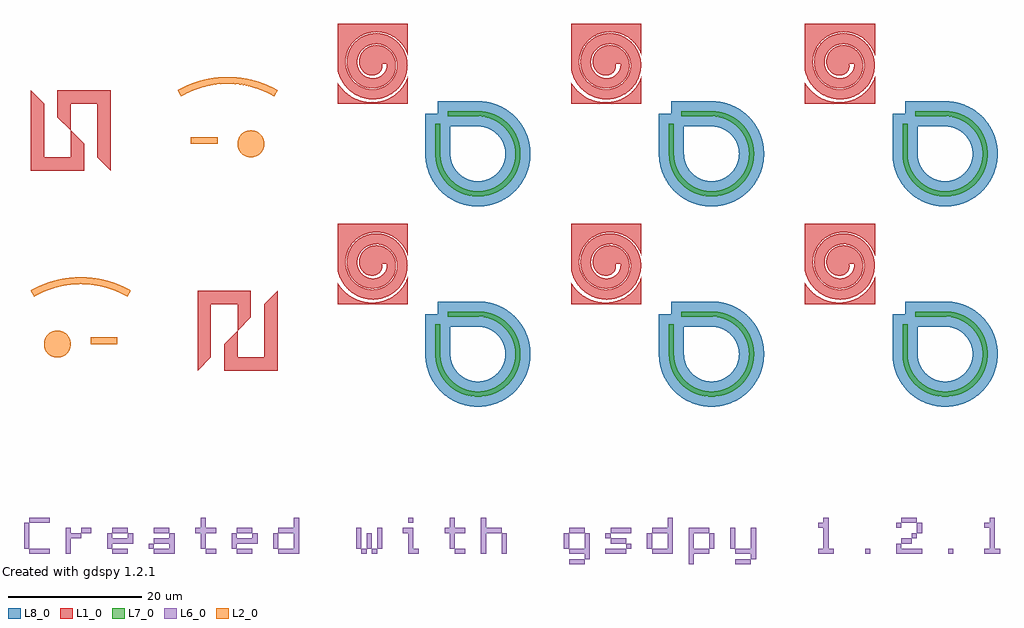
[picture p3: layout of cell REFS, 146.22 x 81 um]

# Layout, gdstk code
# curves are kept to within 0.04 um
from math import pi, radians
import gdstk
lib = gdstk.Library(unit=1e-6, precision=1e-09)
def R(c, l, rs):  # rectangles x0, y0, x1, y1
    for r in rs: c.add(gdstk.rectangle(r[:2], r[2:], *l))
def P(c, l, *ps):  # polygons
    for p in ps: c.add(gdstk.Polygon(p, *l))
L1_0 = (1, 0)
L2_0 = (2, 0)
L6_0 = (6, 0)
L7_0 = (7, 0)
L8_0 = (8, 0)

polygons = lib.new_cell('POLYGONS')
P(polygons, L1_0, [(0,0),(2,2),(2,6),(-6,6),(-6,-6),(-4,-4),(-4,4),(0,4)],
  [(0,0),(-2,-2),(-2,-6),(6,-6),(6,6),(4,4),(4,-4),(0,-4)])
R(polygons, L2_0, [(18,1,22,2)])
P(polygons, L2_0, [(27,2),(29,2),(28.953,2.433),(28.813,2.845),(28.575,3.233),(28.271,3.545)],
  [(27,2),(28.247,3.564),(28.15,3.637),(27.778,3.843),(27.39,3.962),(26.957,4),(26.555,3.95)],
  [(27,2),(26.555,3.95),(26.089,3.781),(25.656,3.482),(25.198,2.868)],
  [(27,2),(25.198,2.868),(25.172,2.813),(25.048,2.438),(25,1.965),(25.048,1.562),(25.198,1.132)],
  [(27,2),(25.198,1.132),(25.656,0.518),(26.089,0.219),(26.555,0.05)],
  [(27,2),(26.555,0.05),(26.957,0),(27.39,0.038),(27.778,0.157),(28.15,0.363),(28.247,0.436)],
  [(27,2),(28.271,0.455),(28.575,0.767),(28.813,1.155),(28.953,1.567),(29,2)],
  [(16,-5.99),(16.866,-6.453),(17.308,-5.556),(16.5,-5.124)],
  [(16.866,-6.453),(17.76,-6.858),(18.142,-5.934),(17.308,-5.556)],
  [(17.76,-6.858),(18.678,-7.204),(19,-6.257),(18.142,-5.934)],
  [(18.678,-7.204),(19.618,-7.489),(19.877,-6.523),(19,-6.257)],
  [(19.618,-7.489),(20.574,-7.712),(20.769,-6.731),(19.877,-6.523)],
  [(20.574,-7.712),(21.542,-7.872),(21.673,-6.88),(20.769,-6.731)],
  [(21.542,-7.872),(22.519,-7.968),(22.584,-6.97),(21.673,-6.88)],
  [(22.519,-7.968),(23.5,-8),(23.5,-7),(22.584,-6.97)],
  [(23.5,-8),(24.481,-7.968),(24.416,-6.97),(23.5,-7)],
  [(24.481,-7.968),(25.458,-7.872),(25.327,-6.88),(24.416,-6.97)],
  [(25.458,-7.872),(26.426,-7.712),(26.231,-6.731),(25.327,-6.88)],
  [(26.426,-7.712),(27.382,-7.489),(27.123,-6.523),(26.231,-6.731)],
  [(27.382,-7.489),(28.322,-7.204),(28,-6.257),(27.123,-6.523)],
  [(28.322,-7.204),(29.24,-6.858),(28.858,-5.934),(28,-6.257)],
  [(29.24,-6.858),(30.134,-6.453),(29.692,-5.556),(28.858,-5.934)],
  [(30.134,-6.453),(31,-5.99),(30.5,-5.124),(29.692,-5.556)])

operations = lib.new_cell('OPERATIONS')
P(operations, L1_0, [(17,-1.27),(16.542,-2.223),(15.813,-3.017),(15.321,-3.355),(14.869,-3.576),(14.289,-3.761),(13.783,-3.843),(12.75,-3.802),(12.139,-3.644),(11.651,-3.437),(10.767,-2.832),(10.389,-2.442),(10,-1.901),(10,-4),(17,-4)],
  [(13.529,-1.167),(13.887,-1.074),(14.194,-0.86),(14.396,-0.549),(14.453,-0.245),(12.211,-0.245),(12.432,-0.666),(12.725,-0.946),(13.103,-1.126)],
  [(10.831,-0.212),(10.809,0.399),(10.899,0.933),(11.088,1.448),(11.374,1.925),(11.809,2.4),(12.27,2.735),(12.793,2.982),(13.358,3.129),(13.949,3.168),(14.543,3.096),(15.121,2.912),(15.586,2.669),(16.011,2.351),(16.44,1.895),(16.738,1.442),(17,0.825),(17,4),(10,4),(10,-0.245)],
  [(15.815,-0.104),(15.658,0.616),(15.31,1.178),(14.772,1.612),(14.139,1.827),(13.448,1.801),(12.841,1.531),(12.374,1.037),(12.153,0.43),(12.211,-0.245),(14.453,-0.245),(14.41,0),(14.91,0),(14.909,-0.245),(15.817,-0.245)],
  [(13.67,-3.547),(13.67,-2.549),(12.837,-2.478),(12.122,-2.18),(11.665,-1.832),(11.246,-1.326),(10.98,-0.795),(10.836,-0.245),(10,-0.245),(10,-0.706),(10.251,-1.444),(10.598,-2.04),(11.12,-2.624),(11.665,-3.03),(12.273,-3.325),(12.92,-3.499)],
  [(13.679,-3.547),(14.333,-3.455),(14.954,-3.244),(15.519,-2.924),(16.011,-2.506),(16.413,-2.009),(16.712,-1.449),(16.899,-0.849),(16.969,-0.245),(15.919,-0.245),(15.742,-1.072),(15.534,-1.462),(15.253,-1.812),(14.907,-2.107),(14.506,-2.335),(13.67,-2.549)],
  [(13.555,-2.456),(13.555,-1.458),(13.025,-1.376),(12.591,-1.141),(12.218,-0.733),(12.009,-0.245),(10.94,-0.245),(11.053,-0.699),(11.26,-1.156),(11.5,-1.507),(11.843,-1.856),(12.611,-2.304),(13.066,-2.424)],
  [(13.595,-2.454),(14.413,-2.267),(14.804,-2.056),(15.143,-1.78),(15.421,-1.451),(15.628,-1.081),(15.761,-0.685),(15.817,-0.245),(14.909,-0.245),(14.776,-0.701),(14.471,-1.099),(14.027,-1.368),(13.555,-1.458),(13.555,-2.456)],
  [(11.99,-0.161),(12.007,0.568),(12.135,0.925),(12.339,1.252),(12.904,1.732),(13.232,1.875),(13.666,1.963),(13.666,3.037),(12.902,2.893),(12.255,2.591),(11.655,2.093),(11.216,1.464),(10.937,0.606),(10.94,-0.245),(12.009,-0.245)],
  [(13.85,1.971),(14.223,1.934),(14.639,1.804),(15.025,1.585),(15.323,1.326),(15.571,1.01),(15.78,0.592),(15.888,0.191),(15.919,-0.245),(16.969,-0.245),(16.891,0.558),(16.629,1.295),(16.202,1.94),(15.642,2.457),(15.21,2.718),(14.667,2.928),(14.182,3.023),(13.666,3.037),(13.666,1.963)])
R(operations, L7_0, [(19.75,-9,20.25,-6), (21,-5.25,24,-4.75)])
P(operations, L7_0, [(24,-4.75),(24.946,-4.857),(24.834,-5.344),(24,-5.25)],
  [(24.946,-4.857),(25.844,-5.171),(25.627,-5.621),(24.834,-5.344)],
  [(25.844,-5.171),(26.65,-5.677),(26.338,-6.068),(25.627,-5.621)],
  [(26.65,-5.677),(27.323,-6.35),(26.932,-6.662),(26.338,-6.068)],
  [(27.323,-6.35),(27.829,-7.156),(27.379,-7.373),(26.932,-6.662)],
  [(27.829,-7.156),(28.143,-8.054),(27.656,-8.166),(27.379,-7.373)],
  [(28.143,-8.054),(28.25,-9),(27.75,-9),(27.656,-8.166)],
  [(28.25,-9),(28.143,-9.946),(27.656,-9.834),(27.75,-9)],
  [(28.143,-9.946),(27.829,-10.844),(27.379,-10.627),(27.656,-9.834)],
  [(27.829,-10.844),(27.323,-11.65),(26.932,-11.338),(27.379,-10.627)],
  [(27.323,-11.65),(26.65,-12.323),(26.338,-11.932),(26.932,-11.338)],
  [(26.65,-12.323),(25.844,-12.829),(25.627,-12.379),(26.338,-11.932)],
  [(25.844,-12.829),(24.946,-13.143),(24.834,-12.656),(25.627,-12.379)],
  [(24.946,-13.143),(24,-13.25),(24,-12.75),(24.834,-12.656)],
  [(24,-13.25),(23.054,-13.143),(23.166,-12.656),(24,-12.75)],
  [(23.054,-13.143),(22.156,-12.829),(22.373,-12.379),(23.166,-12.656)],
  [(22.156,-12.829),(21.35,-12.323),(21.662,-11.932),(22.373,-12.379)],
  [(21.35,-12.323),(20.677,-11.65),(21.068,-11.338),(21.662,-11.932)],
  [(20.677,-11.65),(20.171,-10.844),(20.621,-10.627),(21.068,-11.338)],
  [(20.171,-10.844),(19.857,-9.946),(20.344,-9.834),(20.621,-10.627)],
  [(19.857,-9.946),(19.75,-9),(20.25,-9),(20.344,-9.834)])
P(operations, L8_0, [(26.478,-10.189),(26.476,-10.196),(26.468,-10.211),(26.464,-10.222),(26.454,-10.241),(26.449,-10.249),(26.428,-10.293),(26.415,-10.314),(26.413,-10.317),(26.478,-10.317)],
  [(21.974,-12.008),(19.697,-12.008),(20.077,-12.493),(20.669,-13.061),(21.28,-13.493),(21.974,-13.844)],
  [(21.974,-10.859),(21.587,-10.317),(18.917,-10.317),(19.231,-11.201),(19.697,-12.008),(21.974,-12.008)],
  [(24.026,-11.749),(21.974,-11.717),(21.974,-13.844),(22.948,-14.144),(24.026,-14.25)],
  [(23.577,-11.716),(23.108,-11.601),(22.712,-11.43),(22.333,-11.187),(21.974,-10.859),(21.974,-11.717)],
  [(24.121,-14.249),(25.128,-14.128),(26.04,-13.838),(26.04,-11.712),(24.026,-11.749),(24.026,-14.25)],
  [(26.04,-10.843),(25.685,-11.173),(25.288,-11.43),(24.892,-11.601),(24.446,-11.712),(26.04,-11.712)],
  [(26.095,-13.814),(26.72,-13.493),(27.331,-13.061),(27.923,-12.493),(28.312,-11.996),(26.04,-11.996),(26.04,-13.838)],
  [(28.315,-11.992),(28.769,-11.201),(29.083,-10.317),(26.413,-10.317),(26.04,-10.843),(26.04,-11.996)],
  [(18.758,-9.304),(18.917,-10.317),(21.587,-10.317),(21.365,-9.782),(21.264,-9.27)],
  [(21.262,-9.253),(21.25,-6.25),(24.079,-6.252),(24.719,-6.348),(24.719,-3.798),(24.11,-3.75),(20,-3.75),(20,-5),(18.75,-5),(18.756,-9.27)],
  [(26.478,-6.493),(25.125,-6.493),(25.551,-6.729),(25.943,-7.054),(26.239,-7.404),(26.478,-7.811)],
  [(26.478,-4.37),(25.69,-4.027),(24.719,-3.798),(24.719,-6.348),(25.125,-6.493),(26.478,-6.493)],
  [(26.622,-8.178),(26.68,-8.382),(26.704,-8.504),(26.731,-8.677),(26.744,-8.84),(26.744,-8.178)],
  [(26.744,-9.162),(26.679,-9.624),(26.6,-9.895),(26.478,-10.189),(26.478,-10.317),(26.744,-10.317)],
  [(29.083,-10.317),(29.246,-9.243),(29.186,-8.178),(26.744,-8.178),(26.744,-10.317)],
  [(29.185,-8.174),(28.933,-7.196),(28.477,-6.257),(26.478,-6.257),(26.478,-7.811),(26.622,-8.178)],
  [(28.474,-6.252),(28.074,-5.685),(27.614,-5.19),(27.052,-4.727),(26.478,-4.37),(26.478,-6.257)])

refs = lib.new_cell('REFS')
R(refs, L6_0, [(43.556,-33.444,44.333,-32.667), (45.111,-33.444,45.889,-32.667), (119,-33.444,119.778,-32.667), (131.444,-33.444,132.222,-32.667), (11.667,-32.667,12.444,-31.889), (83.222,-32.667,84,-31.889), (80.111,-31.111,80.889,-30.333), (126,-31.111,126.778,-30.333), (123.667,-29.556,124.444,-28.778), (50.556,-28.778,51.333,-28)])
P(refs, L6_0, [(-7,-32.667),(-6.222,-32.667),(-6.222,-31.889),(-6.222,-31.111),(-6.222,-30.333),(-6.222,-29.556),(-6.222,-28.778),(-7,-28.778),(-7,-29.556),(-7,-30.333),(-7,-31.111),(-7,-31.889)],
  [(-6.222,-33.444),(-5.444,-33.444),(-4.667,-33.444),(-3.889,-33.444),(-3.111,-33.444),(-3.111,-32.667),(-3.889,-32.667),(-4.667,-32.667),(-5.444,-32.667),(-6.222,-32.667)],
  [(-6.222,-28.778),(-5.444,-28.778),(-4.667,-28.778),(-3.889,-28.778),(-3.111,-28.778),(-3.111,-28),(-3.889,-28),(-4.667,-28),(-5.444,-28),(-6.222,-28)],
  [(-0.778,-33.444),(0,-33.444),(0,-32.667),(0,-31.889),(0,-31.111),(0.778,-31.111),(1.556,-31.111),(1.556,-30.333),(0.778,-30.333),(0,-30.333),(0,-29.556),(-0.778,-29.556),(-0.778,-30.333),(-0.778,-31.111),(-0.778,-31.889),(-0.778,-32.667)],
  [(1.556,-30.333),(2.333,-30.333),(3.111,-30.333),(3.111,-29.556),(2.333,-29.556),(1.556,-29.556)],
  [(5.444,-32.667),(6.222,-32.667),(6.222,-31.889),(7,-31.889),(7.778,-31.889),(8.556,-31.889),(9.333,-31.889),(9.333,-31.111),(9.333,-30.333),(8.556,-30.333),(8.556,-31.111),(7.778,-31.111),(7,-31.111),(6.222,-31.111),(6.222,-30.333),(5.444,-30.333),(5.444,-31.111),(5.444,-31.889)],
  [(6.222,-33.444),(7,-33.444),(7.778,-33.444),(8.556,-33.444),(8.556,-32.667),(7.778,-32.667),(7,-32.667),(6.222,-32.667)],
  [(6.222,-30.333),(7,-30.333),(7.778,-30.333),(8.556,-30.333),(8.556,-29.556),(7.778,-29.556),(7,-29.556),(6.222,-29.556)],
  [(12.444,-33.444),(13.222,-33.444),(14,-33.444),(14.778,-33.444),(15.556,-33.444),(15.556,-32.667),(15.556,-31.889),(15.556,-31.111),(15.556,-30.333),(14.778,-30.333),(14.778,-31.111),(14,-31.111),(13.222,-31.111),(12.444,-31.111),(12.444,-31.889),(13.222,-31.889),(14,-31.889),(14.778,-31.889),(14.778,-32.667),(14,-32.667),(13.222,-32.667),(12.444,-32.667)],
  [(12.444,-30.333),(13.222,-30.333),(14,-30.333),(14.778,-30.333),(14.778,-29.556),(14,-29.556),(13.222,-29.556),(12.444,-29.556)],
  [(18.667,-30.333),(19.444,-30.333),(19.444,-31.111),(19.444,-31.889),(19.444,-32.667),(20.222,-32.667),(20.222,-31.889),(20.222,-31.111),(20.222,-30.333),(21,-30.333),(21.778,-30.333),(21.778,-29.556),(21,-29.556),(20.222,-29.556),(20.222,-28.778),(20.222,-28),(19.444,-28),(19.444,-28.778),(19.444,-29.556),(18.667,-29.556)],
  [(20.222,-33.444),(21,-33.444),(21.778,-33.444),(21.778,-32.667),(21,-32.667),(20.222,-32.667)],
  [(24.111,-32.667),(24.889,-32.667),(24.889,-31.889),(25.667,-31.889),(26.444,-31.889),(27.222,-31.889),(28,-31.889),(28,-31.111),(28,-30.333),(27.222,-30.333),(27.222,-31.111),(26.444,-31.111),(25.667,-31.111),(24.889,-31.111),(24.889,-30.333),(24.111,-30.333),(24.111,-31.111),(24.111,-31.889)],
  [(24.889,-33.444),(25.667,-33.444),(26.444,-33.444),(27.222,-33.444),(27.222,-32.667),(26.444,-32.667),(25.667,-32.667),(24.889,-32.667)],
  [(24.889,-30.333),(25.667,-30.333),(26.444,-30.333),(27.222,-30.333),(27.222,-29.556),(26.444,-29.556),(25.667,-29.556),(24.889,-29.556)],
  [(30.333,-32.667),(31.111,-32.667),(31.111,-31.889),(31.111,-31.111),(31.111,-30.333),(30.333,-30.333),(30.333,-31.111),(30.333,-31.889)],
  [(31.111,-33.444),(31.889,-33.444),(32.667,-33.444),(33.444,-33.444),(34.222,-33.444),(34.222,-32.667),(34.222,-31.889),(34.222,-31.111),(34.222,-30.333),(34.222,-29.556),(34.222,-28.778),(34.222,-28),(33.444,-28),(33.444,-28.778),(33.444,-29.556),(32.667,-29.556),(31.889,-29.556),(31.111,-29.556),(31.111,-30.333),(31.889,-30.333),(32.667,-30.333),(33.444,-30.333),(33.444,-31.111),(33.444,-31.889),(33.444,-32.667),(32.667,-32.667),(31.889,-32.667),(31.111,-32.667)],
  [(42.778,-32.667),(43.556,-32.667),(43.556,-31.889),(43.556,-31.111),(43.556,-30.333),(43.556,-29.556),(42.778,-29.556),(42.778,-30.333),(42.778,-31.111),(42.778,-31.889)],
  [(44.333,-32.667),(45.111,-32.667),(45.111,-31.889),(45.111,-31.111),(45.111,-30.333),(44.333,-30.333),(44.333,-31.111),(44.333,-31.889)],
  [(45.889,-32.667),(46.667,-32.667),(46.667,-31.889),(46.667,-31.111),(46.667,-30.333),(46.667,-29.556),(45.889,-29.556),(45.889,-30.333),(45.889,-31.111),(45.889,-31.889)],
  [(49.778,-30.333),(50.556,-30.333),(50.556,-31.111),(50.556,-31.889),(50.556,-32.667),(50.556,-33.444),(51.333,-33.444),(52.111,-33.444),(52.111,-32.667),(51.333,-32.667),(51.333,-31.889),(51.333,-31.111),(51.333,-30.333),(51.333,-29.556),(50.556,-29.556),(49.778,-29.556)],
  [(56,-30.333),(56.778,-30.333),(56.778,-31.111),(56.778,-31.889),(56.778,-32.667),(57.556,-32.667),(57.556,-31.889),(57.556,-31.111),(57.556,-30.333),(58.333,-30.333),(59.111,-30.333),(59.111,-29.556),(58.333,-29.556),(57.556,-29.556),(57.556,-28.778),(57.556,-28),(56.778,-28),(56.778,-28.778),(56.778,-29.556),(56,-29.556)],
  [(57.556,-33.444),(58.333,-33.444),(59.111,-33.444),(59.111,-32.667),(58.333,-32.667),(57.556,-32.667)],
  [(61.444,-33.444),(62.222,-33.444),(62.222,-32.667),(62.222,-31.889),(62.222,-31.111),(62.222,-30.333),(63,-30.333),(63.778,-30.333),(64.556,-30.333),(64.556,-29.556),(63.778,-29.556),(63,-29.556),(62.222,-29.556),(62.222,-28.778),(62.222,-28),(61.444,-28),(61.444,-28.778),(61.444,-29.556),(61.444,-30.333),(61.444,-31.111),(61.444,-31.889),(61.444,-32.667)],
  [(64.556,-33.444),(65.333,-33.444),(65.333,-32.667),(65.333,-31.889),(65.333,-31.111),(65.333,-30.333),(64.556,-30.333),(64.556,-31.111),(64.556,-31.889),(64.556,-32.667)],
  [(73.889,-32.667),(74.667,-32.667),(74.667,-31.889),(74.667,-31.111),(74.667,-30.333),(73.889,-30.333),(73.889,-31.111),(73.889,-31.889)],
  [(74.667,-35),(75.444,-35),(76.222,-35),(77,-35),(77,-34.222),(76.222,-34.222),(75.444,-34.222),(74.667,-34.222)],
  [(74.667,-33.444),(75.444,-33.444),(76.222,-33.444),(77,-33.444),(77,-34.222),(77.778,-34.222),(77.778,-33.444),(77.778,-32.667),(77.778,-31.889),(77.778,-31.111),(77.778,-30.333),(77,-30.333),(77,-31.111),(77,-31.889),(77,-32.667),(76.222,-32.667),(75.444,-32.667),(74.667,-32.667)],
  [(74.667,-30.333),(75.444,-30.333),(76.222,-30.333),(77,-30.333),(77,-29.556),(76.222,-29.556),(75.444,-29.556),(74.667,-29.556)],
  [(80.111,-33.444),(80.889,-33.444),(81.667,-33.444),(82.444,-33.444),(83.222,-33.444),(83.222,-32.667),(82.444,-32.667),(81.667,-32.667),(80.889,-32.667),(80.111,-32.667)],
  [(80.889,-31.889),(81.667,-31.889),(82.444,-31.889),(83.222,-31.889),(83.222,-31.111),(82.444,-31.111),(81.667,-31.111),(80.889,-31.111)],
  [(80.889,-30.333),(81.667,-30.333),(82.444,-30.333),(83.222,-30.333),(84,-30.333),(84,-29.556),(83.222,-29.556),(82.444,-29.556),(81.667,-29.556),(80.889,-29.556)],
  [(86.333,-32.667),(87.111,-32.667),(87.111,-31.889),(87.111,-31.111),(87.111,-30.333),(86.333,-30.333),(86.333,-31.111),(86.333,-31.889)],
  [(87.111,-33.444),(87.889,-33.444),(88.667,-33.444),(89.444,-33.444),(90.222,-33.444),(90.222,-32.667),(90.222,-31.889),(90.222,-31.111),(90.222,-30.333),(90.222,-29.556),(90.222,-28.778),(90.222,-28),(89.444,-28),(89.444,-28.778),(89.444,-29.556),(88.667,-29.556),(87.889,-29.556),(87.111,-29.556),(87.111,-30.333),(87.889,-30.333),(88.667,-30.333),(89.444,-30.333),(89.444,-31.111),(89.444,-31.889),(89.444,-32.667),(88.667,-32.667),(87.889,-32.667),(87.111,-32.667)],
  [(92.556,-35),(93.333,-35),(93.333,-34.222),(93.333,-33.444),(94.111,-33.444),(94.889,-33.444),(95.667,-33.444),(95.667,-32.667),(94.889,-32.667),(94.111,-32.667),(93.333,-32.667),(93.333,-31.889),(93.333,-31.111),(93.333,-30.333),(94.111,-30.333),(94.889,-30.333),(95.667,-30.333),(95.667,-29.556),(94.889,-29.556),(94.111,-29.556),(93.333,-29.556),(92.556,-29.556),(92.556,-30.333),(92.556,-31.111),(92.556,-31.889),(92.556,-32.667),(92.556,-33.444),(92.556,-34.222)],
  [(95.667,-32.667),(96.444,-32.667),(96.444,-31.889),(96.444,-31.111),(96.444,-30.333),(95.667,-30.333),(95.667,-31.111),(95.667,-31.889)],
  [(98.778,-32.667),(99.556,-32.667),(99.556,-31.889),(99.556,-31.111),(99.556,-30.333),(99.556,-29.556),(98.778,-29.556),(98.778,-30.333),(98.778,-31.111),(98.778,-31.889)],
  [(99.556,-35),(100.333,-35),(101.111,-35),(101.889,-35),(101.889,-34.222),(101.111,-34.222),(100.333,-34.222),(99.556,-34.222)],
  [(99.556,-33.444),(100.333,-33.444),(101.111,-33.444),(101.889,-33.444),(101.889,-34.222),(102.667,-34.222),(102.667,-33.444),(102.667,-32.667),(102.667,-31.889),(102.667,-31.111),(102.667,-30.333),(102.667,-29.556),(101.889,-29.556),(101.889,-30.333),(101.889,-31.111),(101.889,-31.889),(101.889,-32.667),(101.111,-32.667),(100.333,-32.667),(99.556,-32.667)],
  [(112,-33.444),(112.778,-33.444),(113.556,-33.444),(114.333,-33.444),(114.333,-32.667),(113.556,-32.667),(113.556,-31.889),(113.556,-31.111),(113.556,-30.333),(113.556,-29.556),(113.556,-28.778),(113.556,-28),(112.778,-28),(112.778,-28.778),(112,-28.778),(112,-29.556),(112.778,-29.556),(112.778,-30.333),(112.778,-31.111),(112.778,-31.889),(112.778,-32.667),(112,-32.667)],
  [(123.667,-33.444),(124.444,-33.444),(125.222,-33.444),(126,-33.444),(126.778,-33.444),(127.556,-33.444),(127.556,-32.667),(126.778,-32.667),(126,-32.667),(125.222,-32.667),(124.444,-32.667),(124.444,-31.889),(123.667,-31.889),(123.667,-32.667)],
  [(124.444,-31.889),(125.222,-31.889),(126,-31.889),(126,-31.111),(125.222,-31.111),(124.444,-31.111)],
  [(124.444,-28.778),(125.222,-28.778),(126,-28.778),(126.778,-28.778),(126.778,-28),(126,-28),(125.222,-28),(124.444,-28)],
  [(126.778,-30.333),(127.556,-30.333),(127.556,-29.556),(127.556,-28.778),(126.778,-28.778),(126.778,-29.556)],
  [(136.889,-33.444),(137.667,-33.444),(138.444,-33.444),(139.222,-33.444),(139.222,-32.667),(138.444,-32.667),(138.444,-31.889),(138.444,-31.111),(138.444,-30.333),(138.444,-29.556),(138.444,-28.778),(138.444,-28),(137.667,-28),(137.667,-28.778),(136.889,-28.778),(136.889,-29.556),(137.667,-29.556),(137.667,-30.333),(137.667,-31.111),(137.667,-31.889),(137.667,-32.667),(136.889,-32.667)])
refs.add(gdstk.Reference(polygons, (0,30), x_reflection=True))
refs.add(gdstk.Reference(polygons, (25,0), rotation=pi))
r = gdstk.Reference(operations, (25,10), magnification=1.5); r.repetition = gdstk.Repetition(3, 2, v1=(35,0), v2=(0,30)); refs.add(r)
refs.add(gdstk.Label('Created with gdspy 1.2.1', (-7,-36), layer=6, texttype=0))

lib.write_gds('REFS.gds')
